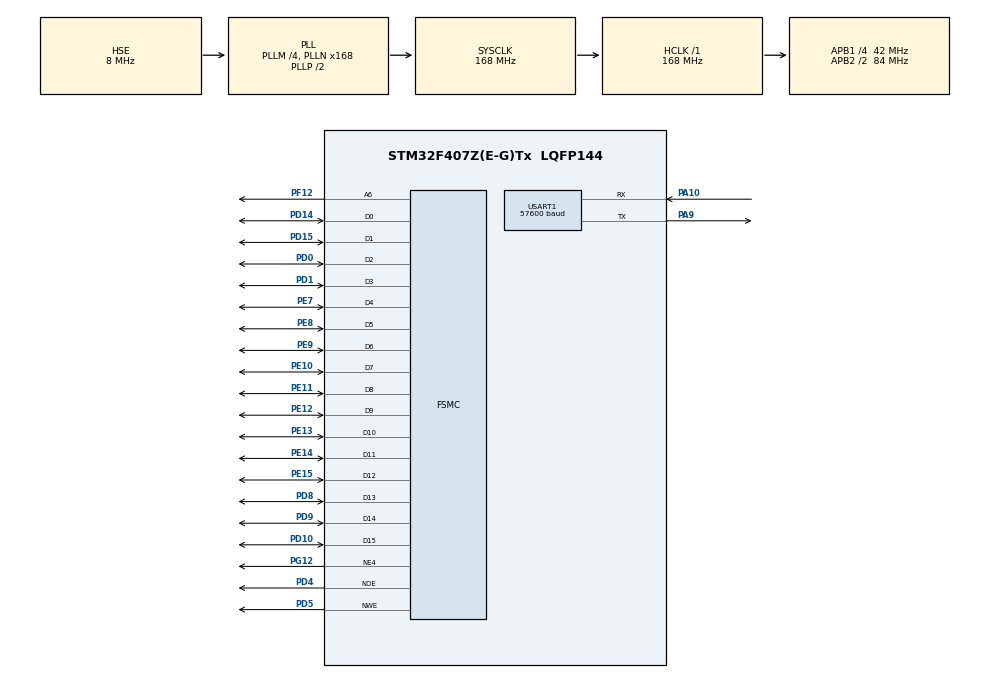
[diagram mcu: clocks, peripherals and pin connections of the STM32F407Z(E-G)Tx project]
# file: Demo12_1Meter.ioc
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FSMC.AccessMode4=FSMC_ACCESS_MODE_A
FSMC.AddressSetupTime4=2
FSMC.BusTurnAroundDuration4=0
FSMC.DataSetupTime4=16
FSMC.ExtendedAccessMode4=FSMC_ACCESS_MODE_A
FSMC.ExtendedAddressSetupTime4=4
FSMC.ExtendedBusTurnAroundDuration4=0
FSMC.ExtendedDataSetupTime4=9
FSMC.ExtendedMode4=FSMC_EXTENDED_MODE_ENABLE
FSMC.MemoryType4=FSMC_MEMORY_TYPE_SRAM
FSMC.NSBank4=FSMC_NORSRAM_BANK4
FSMC.WriteOperation4=FSMC_WRITE_OPERATION_ENABLE
Mcu.Family=STM32F4
Mcu.Name=STM32F407Z(E-G)Tx
Mcu.Package=LQFP144
NVIC.PriorityGroup=NVIC_PRIORITYGROUP_2
NVIC.RTC_WKUP_IRQn=true\:1\:0\:true\:false\:true\:true\:true\:true
NVIC.USART1_IRQn=true\:1\:0\:true\:false\:true\:true\:true\:true
PA10.Mode=Asynchronous
PA10.Signal=USART1_RX
PA13.Mode=Serial_Wire
PA13.Signal=SYS_JTMS-SWDIO
PA14.Mode=Serial_Wire
PA14.Signal=SYS_JTCK-SWCLK
PA9.Mode=Asynchronous
PA9.Signal=USART1_TX
PC14-OSC32_IN.Mode=LSE-External-Oscillator
PC14-OSC32_IN.Signal=RCC_OSC32_IN
PC15-OSC32_OUT.Mode=LSE-External-Oscillator
PC15-OSC32_OUT.Signal=RCC_OSC32_OUT
PD0.GPIO_PuPd=GPIO_NOPULL
PD0.Signal=FSMC_D2_DA2
PD1.GPIO_PuPd=GPIO_NOPULL
PD1.Signal=FSMC_D3_DA3
PD10.GPIO_PuPd=GPIO_NOPULL
PD10.Signal=FSMC_D15_DA15
PD14.GPIO_PuPd=GPIO_NOPULL
PD14.Signal=FSMC_D0_DA0
PD15.GPIO_PuPd=GPIO_NOPULL
PD15.Signal=FSMC_D1_DA1
PD4.GPIO_PuPd=GPIO_NOPULL
PD4.Signal=FSMC_NOE
PD5.GPIO_PuPd=GPIO_NOPULL
PD5.Signal=FSMC_NWE
PD8.GPIO_PuPd=GPIO_NOPULL
PD8.Signal=FSMC_D13_DA13
PD9.GPIO_PuPd=GPIO_NOPULL
PD9.Signal=FSMC_D14_DA14
PE10.GPIO_PuPd=GPIO_NOPULL
PE10.Signal=FSMC_D7_DA7
PE11.GPIO_PuPd=GPIO_NOPULL
PE11.Signal=FSMC_D8_DA8
PE12.GPIO_PuPd=GPIO_NOPULL
PE12.Signal=FSMC_D9_DA9
PE13.GPIO_PuPd=GPIO_NOPULL
PE13.Signal=FSMC_D10_DA10
PE14.GPIO_PuPd=GPIO_NOPULL
PE14.Signal=FSMC_D11_DA11
PE15.GPIO_PuPd=GPIO_NOPULL
PE15.Signal=FSMC_D12_DA12
PE7.GPIO_PuPd=GPIO_NOPULL
PE7.Signal=FSMC_D4_DA4
PE8.GPIO_PuPd=GPIO_NOPULL
PE8.Signal=FSMC_D5_DA5
PE9.GPIO_PuPd=GPIO_NOPULL
PE9.Signal=FSMC_D6_DA6
PF12.GPIO_PuPd=GPIO_NOPULL
PF12.Signal=FSMC_A6
PG12.GPIO_PuPd=GPIO_NOPULL
PG12.Mode=NorPsramChipSelect4_4
PG12.Signal=FSMC_NE4
PH0-OSC_IN.Mode=HSE-External-Oscillator
PH0-OSC_IN.Signal=RCC_OSC_IN
PH1-OSC_OUT.Mode=HSE-External-Oscillator
PH1-OSC_OUT.Signal=RCC_OSC_OUT
ProjectManager.HeapSize=0x200
ProjectManager.StackSize=0x400
ProjectManager.TargetToolchain=STM32CubeIDE
RCC.48MHZClocksFreq_Value=84000000
RCC.AHBFreq_Value=168000000
RCC.APB1CLKDivider=RCC_HCLK_DIV4
RCC.APB1Freq_Value=42000000
RCC.APB1TimFreq_Value=84000000
RCC.APB2CLKDivider=RCC_HCLK_DIV2
RCC.APB2Freq_Value=84000000
RCC.APB2TimFreq_Value=168000000
RCC.CortexFreq_Value=168000000
RCC.FLatency=FLASH_LATENCY_5
RCC.HCLKFreq_Value=168000000
RCC.HSE_VALUE=8000000
RCC.HSI_VALUE=16000000
RCC.PLLM=4
RCC.PLLN=168
RCC.PLLSourceVirtual=RCC_PLLSOURCE_HSE
RCC.RCC_RTC_Clock_Source=RCC_RTCCLKSOURCE_LSE
RCC.RCC_RTC_Clock_SourceVirtual=RCC_RTCCLKSOURCE_LSE
RCC.SYSCLKFreq_VALUE=168000000
RCC.SYSCLKSource=RCC_SYSCLKSOURCE_PLLCLK
RCC.VCOOutputFreq_Value=336000000
RTC.Date=15
RTC.Format=RTC_FORMAT_BIN
RTC.Hours=15
RTC.Minutes=23
RTC.Month=RTC_MONTH_MAY
RTC.WakeUpClock=RTC_WAKEUPCLOCK_CK_SPRE_16BITS
RTC.WakeUpCounter=0
RTC.WeekDay=RTC_WEEKDAY_WEDNESDAY
RTC.Year=19
SH.FSMC_A6.0=FSMC_A6,A6_4
SH.FSMC_D0_DA0.0=FSMC_D0,16b-d4
SH.FSMC_D10_DA10.0=FSMC_D10,16b-d4
SH.FSMC_D11_DA11.0=FSMC_D11,16b-d4
SH.FSMC_D12_DA12.0=FSMC_D12,16b-d4
SH.FSMC_D13_DA13.0=FSMC_D13,16b-d4
SH.FSMC_D14_DA14.0=FSMC_D14,16b-d4
SH.FSMC_D15_DA15.0=FSMC_D15,16b-d4
SH.FSMC_D1_DA1.0=FSMC_D1,16b-d4
SH.FSMC_D2_DA2.0=FSMC_D2,16b-d4
SH.FSMC_D3_DA3.0=FSMC_D3,16b-d4
SH.FSMC_D4_DA4.0=FSMC_D4,16b-d4
SH.FSMC_D5_DA5.0=FSMC_D5,16b-d4
SH.FSMC_D6_DA6.0=FSMC_D6,16b-d4
SH.FSMC_D7_DA7.0=FSMC_D7,16b-d4
SH.FSMC_D8_DA8.0=FSMC_D8,16b-d4
SH.FSMC_D9_DA9.0=FSMC_D9,16b-d4
SH.FSMC_NOE.0=FSMC_NOE,Lcd4
SH.FSMC_NWE.0=FSMC_NWE,Lcd4
USART1.BaudRate=57600
USART1.OverSampling=UART_OVERSAMPLING_16
USART1.Parity=PARITY_NONE
USART1.VirtualMode=VM_ASYNC
USART1.WordLength=WORDLENGTH_8B
VP_RTC_VS_RTC_Activate.Mode=RTC_Enabled
VP_RTC_VS_RTC_Calendar.Mode=RTC_Calendar
VP_RTC_VS_RTC_WakeUp_intern.Mode=WakeUp
board=custom

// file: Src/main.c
/* USER CODE BEGIN Header */
/**
  ******************************************************************************
  * @file           : main.c
  * @brief          : Main program body
  ******************************************************************************
  * @attention
  *
  * <h2><center>&copy; Copyright (c) 2020 STMicroelectronics.
  * All rights reserved.</center></h2>
  *
  * This software component is licensed by ST under BSD 3-Clause license,
  * the "License"; You may not use this file except in compliance with the
  * License. You may obtain a copy of the License at:
  *                        opensource.org/licenses/BSD-3-Clause
  *本案例使用说明：1.在RTC周期唤醒中断里，读取当前时间后再LCD上显示（rtc.c�???
  *本案例使用说明：2.将时间转换为字符串后 发�?�给串口（rtc.c-HAL_UART_Transmit�???
  *本案例使用说明：3.串口监视软件查看接受到的数据，并且向�???发板发�?�指令数据（#M/H+Num；）
  *本案例使用说明：4.中断方式接收HAL_UART_Receive_IT（USART.c中实现）
  *本案例使用说明：5.空闲时接受来自上位机的字符串 并处理后显示（USART.c中实现）
  ******************************************************************************
  */
/* USER CODE END Header */

#include "main.h"
#include "rtc.h"
#include "usart.h"
#include "gpio.h"
#include "fsmc.h"

/* USER CODE BEGIN Includes */
#include	"tftlcd.h"
/* USER CODE END Includes */

void SystemClock_Config(void);

int main(void)
{

  /* MCU Configuration--------------------------------------------------------*/

  /* Reset of all peripherals, Initializes the Flash interface and the Systick. */
  HAL_Init();

  /* Configure the system clock */
  SystemClock_Config();

  /* Initialize all configured peripherals */
  MX_GPIO_Init();
  MX_FSMC_Init();
  MX_RTC_Init();
  MX_USART1_UART_Init();
  /* USER CODE BEGIN 2 */
	TFTLCD_Init();	//LCD软件初始�???

	LCD_ShowStr(10,10, (uint8_t *)"Demo12_1:USART1-Meter");
	LCD_ShowStr(10,LCD_CurY+LCD_SP15, (uint8_t *)"Baudrate= ");
	LCD_ShowUint(LCD_CurX,LCD_CurY, huart1.Init.BaudRate);
	LCD_ShowStr(10,LCD_CurY+LCD_SP10, (uint8_t *)"Please connect board with PC ");
	LCD_ShowStr(10,LCD_CurY+LCD_SP10, (uint8_t *)"via MicroUSB line before power on");

	uint8_t hello1[]="Hello,blocking\n";
	HAL_UART_Transmit(&huart1,hello1,sizeof(hello1),500);	//阻塞模式发�?�数�???
	HAL_Delay(10);

	uint8_t hello2[]="Hello,none blocking\n";
	HAL_UART_Transmit_IT(&huart1,hello2,sizeof(hello2));	//非阻塞模式发送数�???

	LCD_ShowStr(10,140, (uint8_t *)"Received command string is:");  //接收到的指令字符�???
	LcdFRONT_COLOR=lcdColor_WHITE;

	HAL_UART_Receive_IT(&huart1, RxBuffer,RX_CMD_LEN);//中断方式接收5个字�???
  /* USER CODE END 2 */

  /* Infinite loop */
	while (1)
	{

	}
}

void SystemClock_Config(void)
{
  RCC_OscInitTypeDef RCC_OscInitStruct = {0};
  RCC_ClkInitTypeDef RCC_ClkInitStruct = {0};
  RCC_PeriphCLKInitTypeDef PeriphClkInitStruct = {0};

  /** Configure the main internal regulator output voltage
  */
  __HAL_RCC_PWR_CLK_ENABLE();
  __HAL_PWR_VOLTAGESCALING_CONFIG(PWR_REGULATOR_VOLTAGE_SCALE1);
  /** Initializes the CPU, AHB and APB busses clocks
  */
  RCC_OscInitStruct.OscillatorType = RCC_OSCILLATORTYPE_HSE|RCC_OSCILLATORTYPE_LSE;
  RCC_OscInitStruct.HSEState = RCC_HSE_ON;
  RCC_OscInitStruct.LSEState = RCC_LSE_ON;
  RCC_OscInitStruct.PLL.PLLState = RCC_PLL_ON;
  RCC_OscInitStruct.PLL.PLLSource = RCC_PLLSOURCE_HSE;
  RCC_OscInitStruct.PLL.PLLM = 4;
  RCC_OscInitStruct.PLL.PLLN = 168;
  RCC_OscInitStruct.PLL.PLLP = RCC_PLLP_DIV2;
  RCC_OscInitStruct.PLL.PLLQ = 4;
  if (HAL_RCC_OscConfig(&RCC_OscInitStruct) != HAL_OK)
  {
    Error_Handler();
  }
  /** Initializes the CPU, AHB and APB busses clocks
  */
  RCC_ClkInitStruct.ClockType = RCC_CLOCKTYPE_HCLK|RCC_CLOCKTYPE_SYSCLK
                              |RCC_CLOCKTYPE_PCLK1|RCC_CLOCKTYPE_PCLK2;
  RCC_ClkInitStruct.SYSCLKSource = RCC_SYSCLKSOURCE_PLLCLK;
  RCC_ClkInitStruct.AHBCLKDivider = RCC_SYSCLK_DIV1;
  RCC_ClkInitStruct.APB1CLKDivider = RCC_HCLK_DIV4;
  RCC_ClkInitStruct.APB2CLKDivider = RCC_HCLK_DIV2;

  if (HAL_RCC_ClockConfig(&RCC_ClkInitStruct, FLASH_LATENCY_5) != HAL_OK)
  {
    Error_Handler();
  }
  PeriphClkInitStruct.PeriphClockSelection = RCC_PERIPHCLK_RTC;
  PeriphClkInitStruct.RTCClockSelection = RCC_RTCCLKSOURCE_LSE;
  if (HAL_RCCEx_PeriphCLKConfig(&PeriphClkInitStruct) != HAL_OK)
  {
    Error_Handler();
  }
}

void Error_Handler(void)
{
}

/************************ (C) COPYRIGHT STMicroelectronics *****END OF FILE****/
